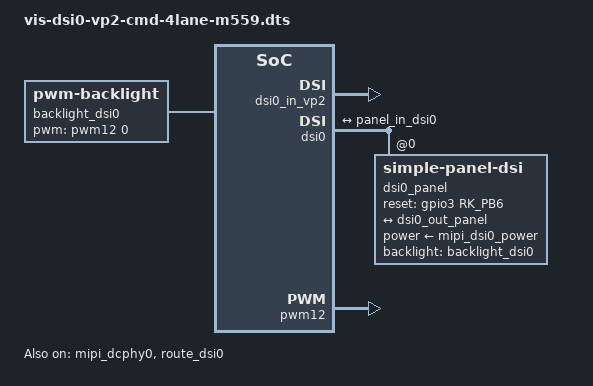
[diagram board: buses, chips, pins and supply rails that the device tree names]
/dts-v1/;
/plugin/;

#include <dt-bindings/gpio/gpio.h>
#include <dt-bindings/pinctrl/rockchip.h>
#include <dt-bindings/display/drm_mipi_dsi.h>
#include <dt-bindings/interrupt-controller/irq.h>

/ {
	fragment@10 {
		target-path = "/";

		__overlay__ {
			// 覆盖GPIO配置
			no_dsc_gpio: no-dsc-gpio {
				nodsc-pin = <&gpio3 RK_PB4 GPIO_ACTIVE_LOW GPIO_PULL_UP>; // 显式启用上拉
			};
		};
    };

	fragment@0 {
		target = <&mipi_dcphy0>;

		__overlay__ {
			status = "okay";
		};
	};

	fragment@1 {
		target = <&route_dsi0>;

		__overlay__ {
			status = "okay";
			connect = <&vp2_out_dsi0>;
		};
	};

	fragment@2 {
		target = <&dsi0_in_vp2>;

		__overlay__ {
			status = "okay";
		};
	};

	fragment@3 {
		target = <&dsi0>;

		__overlay__ {
			status = "okay";
			#address-cells = <1>;
			#size-cells = <0>;

			//rockchip,lane-rate = <1000>; // 1Gbps/lane（根据屏幕调整）

			dsi0_panel: panel@0 {
				status = "okay";
				compatible = "simple-panel-dsi", "panel-dsi-vis";
				reg = <0>;
				backlight = <&backlight_dsi0>;
				power-supply = <&mipi_dsi0_power>;
				reset-gpios = <&gpio3 RK_PB6 GPIO_ACTIVE_HIGH>;

				enable-delay-ms = <35>;
				prepare-delay-ms = <6>;
				reset-delay-ms = <10>;
				init-delay-ms = <50>;
				unprepare-delay-ms = <0>;
				disable-delay-ms = <20>;

				//DSC 压缩配置下面5行
				//compressed-data;
				//slice-width = <610>;
				//slice-height = <16>;
				//version-major = <1>;
				//version-minor = <1>;
				//以上五行为DSC相关配置

				//width-mm = <52>;   // 需根据实际屏幕修改，驱动据此计算像素密度（DPI）
				//height-mm = <120>;
				size,width = <52>;
				size,height = <120>;

				dsi,flags = <(MIPI_DSI_MODE_LPM | MIPI_DSI_MODE_EOT_PACKET)>;
				dsi,format = <MIPI_DSI_FMT_RGB888>;
				dsi,lanes  = <4>;

				panel-init-sequence = [
					39 00 02 fe 00
					39 00 02 2f 0c
					39 00 02 fe 00
					39 00 02 8a 10
					39 00 02 fe d6
					39 00 02 17 00
					39 00 02 00 10
					39 00 02 09 40
					39 00 02 01 76
					39 00 02 02 78
					39 00 02 05 22
					39 00 02 03 08
					39 00 02 04 02
					39 00 02 06 76
					39 00 02 07 08
					39 00 02 08 00
					39 00 02 94 0f
					39 00 02 97 22
					39 00 02 99 78
					39 00 02 9a 74
					39 00 02 98 22
					39 00 02 9b 78
					39 00 02 9c 74
					39 00 02 fe d0
					39 00 02 c7 82
					39 00 02 c8 80
					39 00 02 fe d4
					39 00 02 06 10
					39 00 02 6b 04
					39 00 02 6c 00
					39 00 02 fe d1
					39 00 02 d3 00
					39 00 02 fe d0
					39 00 02 b8 04
					39 00 02 b9 ec
					39 00 02 fe d4
					39 00 02 0c 20
					39 00 02 59 f0
					39 00 02 5a 44
					39 00 02 5b f0
					39 00 02 fe d0
					39 00 02 af 78
					39 00 02 b0 22
					39 00 02 b1 78
					39 00 02 fe d4
					39 00 02 00 80
					39 00 02 fe 00
					39 00 02 fa 07
					39 00 02 c2 08
					39 00 02 35 00
					39 00 03 51 2f 35
					05 20 01 11
					05 70 01 29
				];

				panel-exit-sequence = [
					05 78 01 28
					05 00 01 10
				];

				disp0_timings0: display-timings {
					native-mode = <&dsi0_timing0>;
					dsi0_timing0: timing0 {
						clock-frequency = <180600000>;
						hactive = <1260>;
						vactive = <2800>;
						hfront-porch = <26>;
						hback-porch = <36>;
						hsync-len = <2>;
						vfront-porch = <62>;
						vback-porch = <36>;
						vsync-len = <2>;
						hsync-active = <0>;
						vsync-active = <0>;
						de-active = <0>;
						pixelclk-active = <0>;
					};
				};

				ports {
					#address-cells = <1>;
					#size-cells = <0>;
					port@0 {
						reg = <0>;
						panel_in_dsi0: endpoint {
							remote-endpoint = <&dsi0_out_panel>;
						};
					};
				};
			};

			ports {
				#address-cells = <1>;
				#size-cells = <0>;

				port@1 {
					reg = <1>;
					dsi0_out_panel: endpoint {
						remote-endpoint = <&panel_in_dsi0>;
					};
				};
			};
		};
	};

	fragment@4 {
		target = <&i2c1>;

		__overlay__ {
			status = "disabled";
			#address-cells = <1>;
			#size-cells = <0>;
			pinctrl-names = "default";
			pinctrl-0 = <&i2c1m2_xfer>;

			gt911_dsi0: gt911@5d {
				status = "disabled";
				compatible = "goodix,gt911";
				reg = <0x5d>;
				interrupt-parent = <&gpio1>;
				interrupts = <RK_PB3 IRQ_TYPE_LEVEL_LOW>;
				reset-gpios = <&gpio1 RK_PB4 GPIO_ACTIVE_LOW>;
				irq-gpios = <&gpio1 RK_PB3 GPIO_ACTIVE_HIGH>;
				touchscreen-inverted-x = <1>;
				touchscreen-inverted-y = <1>;
			};
		};
	};

	fragment@5 {
		target-path = "/";

		__overlay__ {
			backlight_dsi0: backlight-dsi0 {
				status = "okay";
				compatible = "pwm-backlight";
				pwms = <&pwm12 0 25000 0>;
				brightness-levels = <
				0  20  20  21  21  22  22  23
				248 249 250 251 252 253 254 255
				>;
				default-brightness-level = <0>;
			};
		};
	};

	fragment@6 {
		target = <&pwm12>;

		__overlay__ {
			pinctrl-0 = <&pwm12m1_pins>;
			status = "okay";
		};
	};
};
